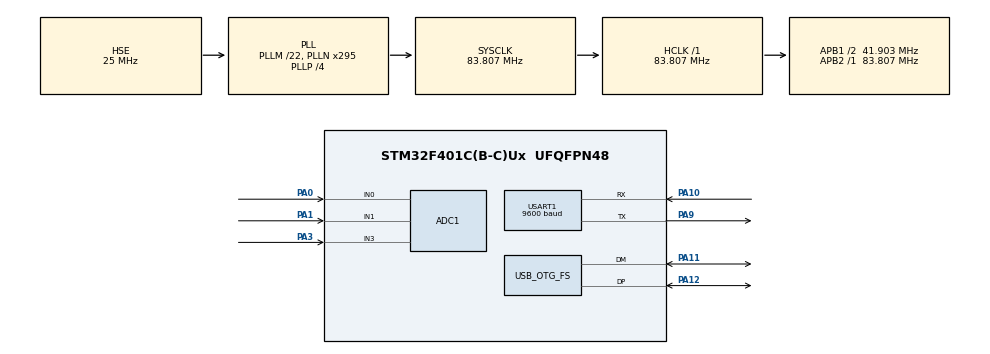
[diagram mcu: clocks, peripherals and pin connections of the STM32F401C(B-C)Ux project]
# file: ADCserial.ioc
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ADC1.Channel-0\#ChannelRegularConversion=ADC_CHANNEL_0
ADC1.Channel-1\#ChannelRegularConversion=ADC_CHANNEL_1
ADC1.Channel-2\#ChannelRegularConversion=ADC_CHANNEL_3
ADC1.Channel-4\#ChannelRegularConversion=ADC_CHANNEL_TEMPSENSOR
ADC1.NbrOfConversion=4
ADC1.NbrOfConversionFlag=1
ADC1.Rank-0\#ChannelRegularConversion=1
ADC1.Rank-1\#ChannelRegularConversion=2
ADC1.Rank-2\#ChannelRegularConversion=3
ADC1.Rank-4\#ChannelRegularConversion=4
ADC1.SamplingTime-0\#ChannelRegularConversion=ADC_SAMPLETIME_3CYCLES
ADC1.SamplingTime-1\#ChannelRegularConversion=ADC_SAMPLETIME_3CYCLES
ADC1.SamplingTime-2\#ChannelRegularConversion=ADC_SAMPLETIME_3CYCLES
ADC1.SamplingTime-4\#ChannelRegularConversion=ADC_SAMPLETIME_15CYCLES
ADC1.master=1
Dma.ADC1.0.Direction=DMA_PERIPH_TO_MEMORY
Dma.ADC1.0.FIFOMode=DMA_FIFOMODE_DISABLE
Dma.ADC1.0.Instance=DMA2_Stream0
Dma.ADC1.0.MemDataAlignment=DMA_MDATAALIGN_HALFWORD
Dma.ADC1.0.MemInc=DMA_MINC_ENABLE
Dma.ADC1.0.Mode=DMA_NORMAL
Dma.ADC1.0.PeriphDataAlignment=DMA_PDATAALIGN_HALFWORD
Dma.ADC1.0.PeriphInc=DMA_PINC_DISABLE
Dma.ADC1.0.Priority=DMA_PRIORITY_LOW
Dma.Request0=ADC1
Mcu.Family=STM32F4
Mcu.Name=STM32F401C(B-C)Ux
Mcu.Package=UFQFPN48
NVIC.DMA2_Stream0_IRQn=true\:0\:0\:false\:false\:true\:false\:true\:true
NVIC.OTG_FS_IRQn=true\:0\:0\:false\:false\:true\:false\:true\:true
NVIC.PriorityGroup=NVIC_PRIORITYGROUP_4
PA0-WKUP.Signal=ADCx_IN0
PA1.Signal=ADCx_IN1
PA10.Mode=Asynchronous
PA10.Signal=USART1_RX
PA11.Mode=Device_Only
PA11.Signal=USB_OTG_FS_DM
PA12.Mode=Device_Only
PA12.Signal=USB_OTG_FS_DP
PA3.Signal=ADCx_IN3
PA9.Mode=Asynchronous
PA9.Signal=USART1_TX
PH0\ -\ OSC_IN.Mode=HSE-External-Oscillator
PH0\ -\ OSC_IN.Signal=RCC_OSC_IN
PH1\ -\ OSC_OUT.Mode=HSE-External-Oscillator
PH1\ -\ OSC_OUT.Signal=RCC_OSC_OUT
ProjectManager.HeapSize=0x200
ProjectManager.StackSize=0x400
ProjectManager.TargetToolchain=STM32CubeIDE
RCC.48MHZClocksFreq_Value=47889610.389610395
RCC.AHBFreq_Value=83806818.18181819
RCC.APB1CLKDivider=RCC_HCLK_DIV2
RCC.APB1Freq_Value=41903409.09090909
RCC.APB1TimFreq_Value=83806818.18181819
RCC.APB2Freq_Value=83806818.18181819
RCC.APB2TimFreq_Value=83806818.18181819
RCC.CortexFreq_Value=83806818.18181819
RCC.HCLKFreq_Value=83806818.18181819
RCC.HSE_VALUE=25000000
RCC.HSI_VALUE=16000000
RCC.LSE_VALUE=32768
RCC.PLLM=22
RCC.PLLN=295
RCC.PLLP=RCC_PLLP_DIV4
RCC.PLLQ=7
RCC.PLLSourceVirtual=RCC_PLLSOURCE_HSE
RCC.SYSCLKFreq_VALUE=83806818.18181819
RCC.SYSCLKSource=RCC_SYSCLKSOURCE_PLLCLK
RCC.VCOOutputFreq_Value=335227272.72727275
SH.ADCx_IN0.0=ADC1_IN0,IN0
SH.ADCx_IN1.0=ADC1_IN1,IN1
SH.ADCx_IN3.0=ADC1_IN3,IN3
USART1.BaudRate=9600
USART1.VirtualMode=VM_ASYNC
USB_DEVICE.CLASS_NAME_FS=CDC
USB_DEVICE.VirtualMode=Cdc
USB_DEVICE.VirtualModeFS=Cdc_FS
USB_OTG_FS.VirtualMode=Device_Only
VP_ADC1_TempSens_Input.Mode=IN-TempSens
VP_USB_DEVICE_VS_USB_DEVICE_CDC_FS.Mode=CDC_FS
board=custom

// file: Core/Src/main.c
/* USER CODE BEGIN Header */
/**
  ******************************************************************************
  * @file           : main.c
  * @brief          : Main program body
  ******************************************************************************
  * @attention
  *
  * Copyright (c) 2025 STMicroelectronics.
  * All rights reserved.
  *
  * This software is licensed under terms that can be found in the LICENSE file
  * in the root directory of this software component.
  * If no LICENSE file comes with this software, it is provided AS-IS.
  *
  ******************************************************************************
  */
/* USER CODE END Header */
#include "main.h"
#include "usb_device.h"

/* USER CODE BEGIN Includes */
#include "adc_x.h"
#include "uart.h"
#include "usb_cdc.h"

#include "stdio.h"
#include "stdlib.h"
#include "string.h"
#include "math.h"
/* USER CODE END Includes */

ADC_HandleTypeDef hadc1;
DMA_HandleTypeDef hdma_adc1;

UART_HandleTypeDef huart1;

/* USER CODE BEGIN PV */
char texto[50];
float vol1,vol2,vol3,vol4,temp_interna;
/* USER CODE END PV */

void SystemClock_Config(void);
static void MX_GPIO_Init(void);
static void MX_DMA_Init(void);
static void MX_ADC1_Init(void);
static void MX_USART1_UART_Init(void);

int main(void)
{

  /* MCU Configuration--------------------------------------------------------*/

  /* Reset of all peripherals, Initializes the Flash interface and the Systick. */
  HAL_Init();

  /* Configure the system clock */
  SystemClock_Config();

  /* Initialize all configured peripherals */
  MX_GPIO_Init();
  MX_DMA_Init();
  MX_ADC1_Init();
  MX_USART1_UART_Init();
  MX_USB_DEVICE_Init();
  /* USER CODE BEGIN 2 */
uartx_write_text(&huart1, "iniciando\r\n");
  /* USER CODE END 2 */

  /* Infinite loop */
  /* USER CODE BEGIN WHILE */
  while (1)
  {
	  ADC_Read_DMA(&hadc1);

	  sprintf(texto,"%u   %u   %u    %u\r\n",adc_codigo[0],adc_codigo[1],adc_codigo[2],adc_codigo[3]);
	  uartx_write_text(&huart1, texto);

	  vol1=adc_codigo[0]*3.3/4095.0;
	  vol2=adc_codigo[1]*3.3/4095.0;
	  vol3=adc_codigo[2]*3.3/4095.0;
	  vol4=adc_codigo[3]*3.3/4095.0;

	//datos sacados del datasheet
	float const V25 = 0.76;  // V (Typical voltage at 25°C)
	float const Avg_Slope = 0.0025;  // V/°C (Average slope of temperature vs. voltage)
	//fromula sacada del manual de referencia
	temp_interna = ((vol4-V25) / Avg_Slope) + 25;
	  sprintf(texto,"%.1f   %.1f   %.1f   temp_interna=%.2f\r\n\r\n",vol1,vol2,vol3,temp_interna);
	  uartx_write_text(&huart1, texto);
	  usb_uart_write(texto);
	  HAL_Delay(600);

    /* USER CODE END WHILE */

  }
}

void SystemClock_Config(void)
{
  RCC_OscInitTypeDef RCC_OscInitStruct = {0};
  RCC_ClkInitTypeDef RCC_ClkInitStruct = {0};

  /** Configure the main internal regulator output voltage
  */
  __HAL_RCC_PWR_CLK_ENABLE();
  __HAL_PWR_VOLTAGESCALING_CONFIG(PWR_REGULATOR_VOLTAGE_SCALE2);

  /** Initializes the RCC Oscillators according to the specified parameters
  * in the RCC_OscInitTypeDef structure.
  */
  RCC_OscInitStruct.OscillatorType = RCC_OSCILLATORTYPE_HSE;
  RCC_OscInitStruct.HSEState = RCC_HSE_ON;
  RCC_OscInitStruct.PLL.PLLState = RCC_PLL_ON;
  RCC_OscInitStruct.PLL.PLLSource = RCC_PLLSOURCE_HSE;
  RCC_OscInitStruct.PLL.PLLM = 22;
  RCC_OscInitStruct.PLL.PLLN = 295;
  RCC_OscInitStruct.PLL.PLLP = RCC_PLLP_DIV4;
  RCC_OscInitStruct.PLL.PLLQ = 7;
  if (HAL_RCC_OscConfig(&RCC_OscInitStruct) != HAL_OK)
  {
    Error_Handler();
  }

  /** Initializes the CPU, AHB and APB buses clocks
  */
  RCC_ClkInitStruct.ClockType = RCC_CLOCKTYPE_HCLK|RCC_CLOCKTYPE_SYSCLK
                              |RCC_CLOCKTYPE_PCLK1|RCC_CLOCKTYPE_PCLK2;
  RCC_ClkInitStruct.SYSCLKSource = RCC_SYSCLKSOURCE_PLLCLK;
  RCC_ClkInitStruct.AHBCLKDivider = RCC_SYSCLK_DIV1;
  RCC_ClkInitStruct.APB1CLKDivider = RCC_HCLK_DIV2;
  RCC_ClkInitStruct.APB2CLKDivider = RCC_HCLK_DIV1;

  if (HAL_RCC_ClockConfig(&RCC_ClkInitStruct, FLASH_LATENCY_2) != HAL_OK)
  {
    Error_Handler();
  }
}

static void MX_ADC1_Init(void)
{

  ADC_ChannelConfTypeDef sConfig = {0};

  /** Configure the global features of the ADC (Clock, Resolution, Data Alignment and number of conversion)
  */
  hadc1.Instance = ADC1;
  hadc1.Init.ClockPrescaler = ADC_CLOCK_SYNC_PCLK_DIV4;
  hadc1.Init.Resolution = ADC_RESOLUTION_12B;
  hadc1.Init.ScanConvMode = ENABLE;
  hadc1.Init.ContinuousConvMode = DISABLE;
  hadc1.Init.DiscontinuousConvMode = DISABLE;
  hadc1.Init.ExternalTrigConvEdge = ADC_EXTERNALTRIGCONVEDGE_NONE;
  hadc1.Init.ExternalTrigConv = ADC_SOFTWARE_START;
  hadc1.Init.DataAlign = ADC_DATAALIGN_RIGHT;
  hadc1.Init.NbrOfConversion = 4;
  hadc1.Init.DMAContinuousRequests = DISABLE;
  hadc1.Init.EOCSelection = ADC_EOC_SINGLE_CONV;
  if (HAL_ADC_Init(&hadc1) != HAL_OK)
  {
    Error_Handler();
  }

  /** Configure for the selected ADC regular channel its corresponding rank in the sequencer and its sample time.
  */
  sConfig.Channel = ADC_CHANNEL_0;
  sConfig.Rank = 1;
  sConfig.SamplingTime = ADC_SAMPLETIME_3CYCLES;
  if (HAL_ADC_ConfigChannel(&hadc1, &sConfig) != HAL_OK)
  {
    Error_Handler();
  }

  /** Configure for the selected ADC regular channel its corresponding rank in the sequencer and its sample time.
  */
  sConfig.Channel = ADC_CHANNEL_1;
  sConfig.Rank = 2;
  if (HAL_ADC_ConfigChannel(&hadc1, &sConfig) != HAL_OK)
  {
    Error_Handler();
  }

  /** Configure for the selected ADC regular channel its corresponding rank in the sequencer and its sample time.
  */
  sConfig.Channel = ADC_CHANNEL_3;
  sConfig.Rank = 3;
  if (HAL_ADC_ConfigChannel(&hadc1, &sConfig) != HAL_OK)
  {
    Error_Handler();
  }

  /** Configure for the selected ADC regular channel its corresponding rank in the sequencer and its sample time.
  */
  sConfig.Channel = ADC_CHANNEL_TEMPSENSOR;
  sConfig.Rank = 4;
  sConfig.SamplingTime = ADC_SAMPLETIME_15CYCLES;
  if (HAL_ADC_ConfigChannel(&hadc1, &sConfig) != HAL_OK)
  {
    Error_Handler();
  }

}

static void MX_USART1_UART_Init(void)
{

  huart1.Instance = USART1;
  huart1.Init.BaudRate = 9600;
  huart1.Init.WordLength = UART_WORDLENGTH_8B;
  huart1.Init.StopBits = UART_STOPBITS_1;
  huart1.Init.Parity = UART_PARITY_NONE;
  huart1.Init.Mode = UART_MODE_TX_RX;
  huart1.Init.HwFlowCtl = UART_HWCONTROL_NONE;
  huart1.Init.OverSampling = UART_OVERSAMPLING_16;
  if (HAL_UART_Init(&huart1) != HAL_OK)
  {
    Error_Handler();
  }

}

static void MX_DMA_Init(void)
{

  /* DMA controller clock enable */
  __HAL_RCC_DMA2_CLK_ENABLE();

  /* DMA interrupt init */
  /* DMA2_Stream0_IRQn interrupt configuration */
  HAL_NVIC_SetPriority(DMA2_Stream0_IRQn, 0, 0);
  HAL_NVIC_EnableIRQ(DMA2_Stream0_IRQn);

}

static void MX_GPIO_Init(void)
{

  /* GPIO Ports Clock Enable */
  __HAL_RCC_GPIOH_CLK_ENABLE();
  __HAL_RCC_GPIOA_CLK_ENABLE();

}

void Error_Handler(void)
{
  __disable_irq();
  while (1)
  {
  }
}
